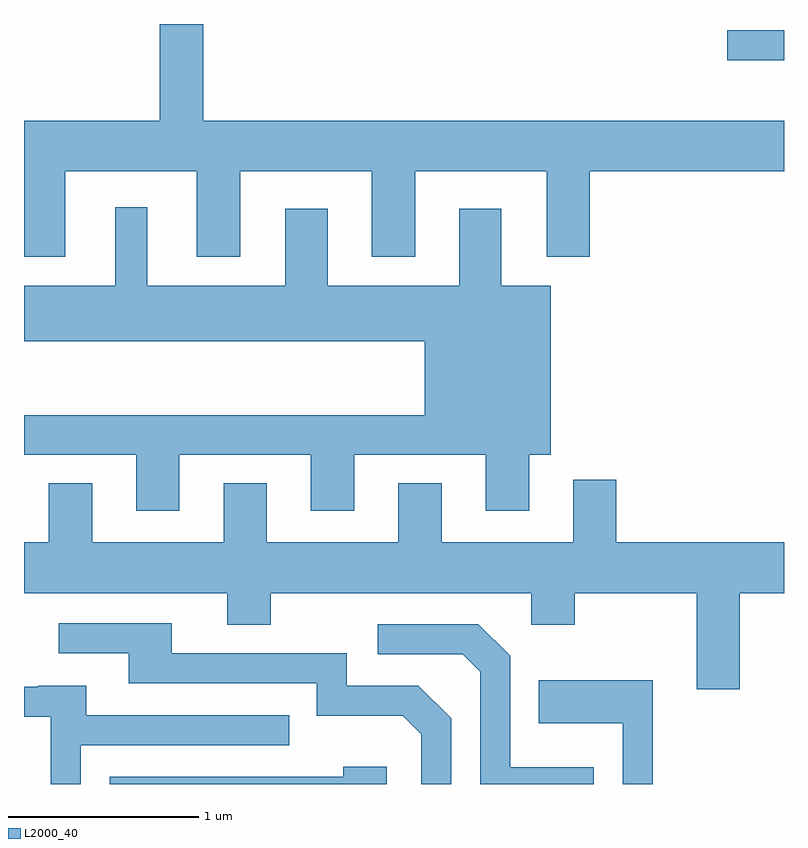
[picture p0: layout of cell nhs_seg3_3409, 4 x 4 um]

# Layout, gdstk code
import gdstk
lib = gdstk.Library(unit=1e-6, precision=1e-09)
def R(c, l, rs):  # rectangles x0, y0, x1, y1
    for r in rs: c.add(gdstk.rectangle(r[:2], r[2:], *l))
def P(c, l, *ps):  # polygons
    for p in ps: c.add(gdstk.Polygon(p, *l))
L2000_40 = (2000, 40)

nhs_seg3_3409 = lib.new_cell('nhs_seg3_3409')
R(nhs_seg3_3409, L2000_40, [(289.313,1137.701,289.611,1137.859)])
P(nhs_seg3_3409, L2000_40, [(285.829,1137.116),(286.521,1137.116),(286.521,1136.666),(286.749,1136.666),(286.749,1137.116),(287.441,1137.116),(287.441,1136.666),(287.669,1136.666),(287.669,1137.116),(288.361,1137.116),(288.361,1136.666),(288.589,1136.666),(288.589,1137.116),(289.611,1137.116),(289.611,1137.384),(286.554,1137.384),(286.554,1137.892),(286.326,1137.892),(286.326,1137.384),(285.611,1137.384),(285.611,1136.666),(285.829,1136.666)],
  [(286.429,1135.626),(287.121,1135.626),(287.121,1135.331),(287.349,1135.331),(287.349,1135.626),(288.041,1135.626),(288.041,1135.331),(288.269,1135.331),(288.269,1135.626),(288.384,1135.626),(288.384,1136.514),(288.124,1136.514),(288.124,1136.919),(287.901,1136.919),(287.901,1136.514),(287.209,1136.514),(287.209,1136.919),(286.986,1136.919),(286.986,1136.514),(286.259,1136.514),(286.259,1136.928),(286.091,1136.928),(286.091,1136.514),(285.611,1136.514),(285.611,1136.221),(287.721,1136.221),(287.721,1135.834),(285.611,1135.834),(285.611,1135.626),(286.201,1135.626),(286.201,1135.331),(286.429,1135.331)],
  [(289.379,1134.896),(289.611,1134.896),(289.611,1135.164),(288.729,1135.164),(288.729,1135.494),(288.501,1135.494),(288.501,1135.164),(287.809,1135.164),(287.809,1135.474),(287.581,1135.474),(287.581,1135.164),(286.889,1135.164),(286.889,1135.474),(286.661,1135.474),(286.661,1135.164),(285.969,1135.164),(285.969,1135.474),(285.741,1135.474),(285.741,1135.164),(285.611,1135.164),(285.611,1134.896),(286.681,1134.896),(286.681,1134.731),(286.909,1134.731),(286.909,1134.896),(288.281,1134.896),(288.281,1134.731),(288.509,1134.731),(288.509,1134.896),(289.151,1134.896),(289.151,1134.391),(289.379,1134.391)],
  [(287.859,1134.237),(287.687,1134.409),(287.309,1134.409),(287.309,1134.579),(286.389,1134.579),(286.389,1134.739),(285.793,1134.739),(285.793,1134.581),(286.161,1134.581),(286.161,1134.421),(287.151,1134.421),(287.151,1134.251),(287.604,1134.251),(287.701,1134.154),(287.701,1133.892),(287.859,1133.892)],
  [(288.609,1133.979),(288.169,1133.979),(288.169,1134.567),(288.002,1134.734),(287.473,1134.734),(287.473,1134.576),(287.919,1134.576),(288.011,1134.484),(288.011,1133.892),(288.609,1133.892)],
  [(288.919,1134.439),(288.321,1134.439),(288.321,1134.211),(288.761,1134.211),(288.761,1133.892),(288.919,1133.892)],
  [(285.909,1134.096),(287.008,1134.096),(287.008,1134.254),(285.939,1134.254),(285.939,1134.409),(285.685,1134.409),(285.685,1134.404),(285.611,1134.404),(285.611,1134.246),(285.751,1134.246),(285.751,1133.892),(285.909,1133.892)],
  [(287.519,1133.984),(287.291,1133.984),(287.291,1133.929),(286.061,1133.929),(286.061,1133.892),(287.519,1133.892)])

lib.write_gds('nhs_seg3_3409.gds')
